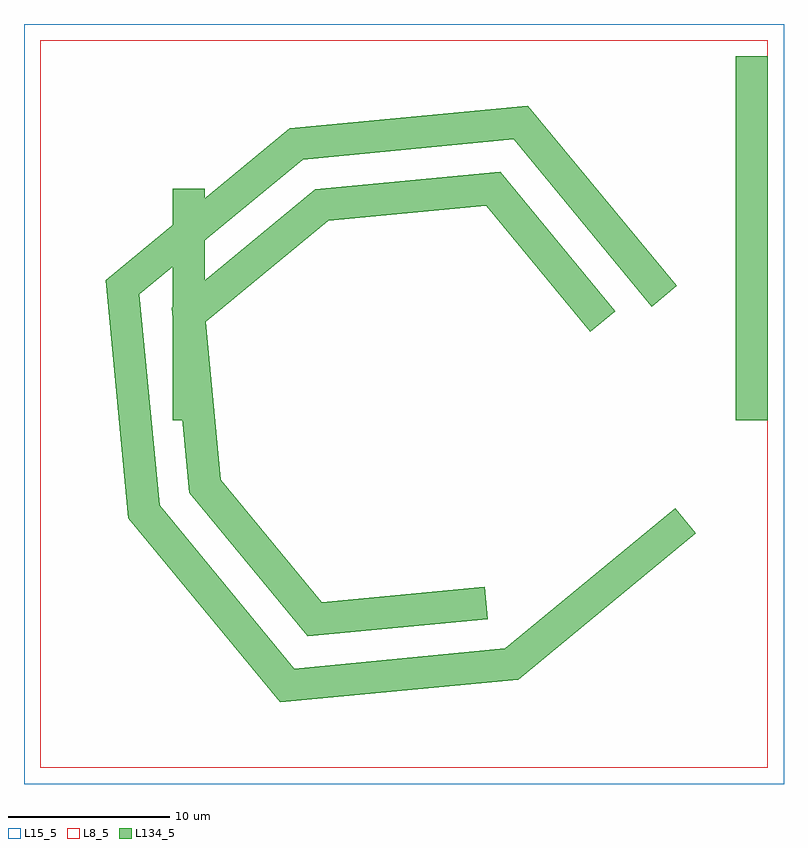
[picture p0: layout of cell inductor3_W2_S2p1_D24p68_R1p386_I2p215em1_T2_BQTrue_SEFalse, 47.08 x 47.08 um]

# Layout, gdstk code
import gdstk
lib = gdstk.Library(unit=1e-6, precision=1e-09)
def R(c, l, rs):  # rectangles x0, y0, x1, y1
    for r in rs: c.add(gdstk.rectangle(r[:2], r[2:], *l))
def P(c, l, *ps):  # polygons
    for p in ps: c.add(gdstk.Polygon(p, *l))
L8_5 = (8, 5)
L15_5 = (15, 5)
L134_5 = (134, 5)

rectangle_gdsfactorypcom = lib.new_cell('rectangle_gdsfactorypcomponentspshapesprectangle_S47p08_eabe9a32')
R(rectangle_gdsfactorypcom, L15_5, [(-23.54,-23.54,23.54,23.54)])

c_rectangle_gdsfactorypcom = lib.new_cell('rectangle_gdsfactorypcomponentspshapesprectangle_S45p08_996cb033')
R(c_rectangle_gdsfactorypcom, L8_5, [(-22.54,-22.54,22.54,22.54)])

c_rectangle_gdsfactorypcom_ = lib.new_cell('rectangle_gdsfactorypcomponentspshapesprectangle_S2_22p_0072aad9')
R(c_rectangle_gdsfactorypcom_, L134_5, [(0,0,2,22.54)])

c_rectangle_gdsfactorypcom__ = lib.new_cell('rectangle_gdsfactorypcomponentspshapesprectangle_S2_14p_0c503242')
R(c_rectangle_gdsfactorypcom__, L134_5, [(0,0,2,14.34)])

unnamed_349 = lib.new_cell('Unnamed_349')
P(unnamed_349, L134_5, [(-7.657,-18.486),(-17.079,-7.074),(-18.486,7.657),(-7.074,17.079),(7.657,18.486),(16.884,7.311),(15.341,6.037),(6.791,16.394),(-6.274,15.146),(-16.394,6.791),(-15.146,-6.274),(-6.791,-16.394),(6.274,-15.146),(16.803,-6.453),(18.077,-7.995),(7.074,-17.079)])

unnamed_348 = lib.new_cell('Unnamed_348')
P(unnamed_348, L134_5, [(-5.959,-14.386),(-13.291,-5.505),(-14.386,5.959),(-5.505,13.291),(5.959,14.386),(13.096,5.742),(11.553,4.468),(5.092,12.294),(-4.705,11.358),(-12.294,5.092),(-11.358,-4.705),(-5.092,-12.294),(5.01,-11.329),(5.2,-13.32)])

inductor3_w2_s2p1_d24p68 = lib.new_cell('inductor3_W2_S2p1_D24p68_R1p386_I2p215em1_T2_BQTrue_SEFalse')
inductor3_w2_s2p1_d24p68.add(gdstk.Reference(rectangle_gdsfactorypcom, (0,0)))
inductor3_w2_s2p1_d24p68.add(gdstk.Reference(c_rectangle_gdsfactorypcom, (0,0)))
inductor3_w2_s2p1_d24p68.add(gdstk.Reference(c_rectangle_gdsfactorypcom_, (20.54,-1)))
inductor3_w2_s2p1_d24p68.add(gdstk.Reference(c_rectangle_gdsfactorypcom__, (-14.34,-1)))
inductor3_w2_s2p1_d24p68.add(gdstk.Reference(unnamed_349, (0,0)))
inductor3_w2_s2p1_d24p68.add(gdstk.Reference(unnamed_348, (0,0)))

lib.write_gds('inductor3_W2_S2p1_D24p68_R1p386_I2p215em1_T2_BQTrue_SEFalse.gds')
